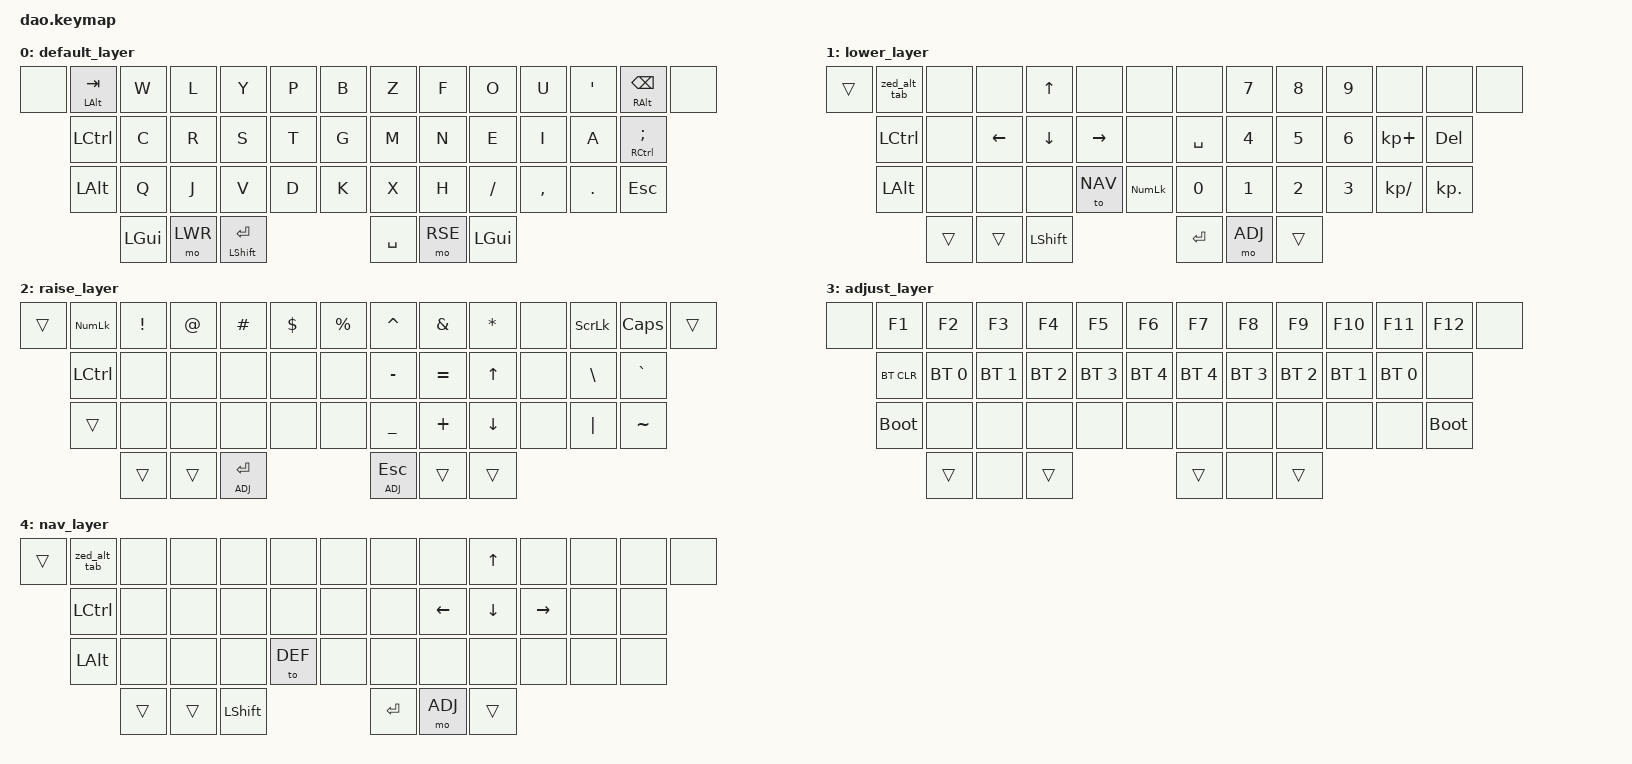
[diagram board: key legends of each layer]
/*
 * Copyright (c) 2021 Rafael Yumagulov
 *
 * SPDX-License-Identifier: MIT
 */

#include <behaviors.dtsi>
#include <dt-bindings/zmk/keys.h>
#include <dt-bindings/zmk/bt.h>

#define DEF 0
#define LWR 1
#define RSE 2
#define ADJ 3
#define NAV 4

&lt { quick_tap_ms = <200>; };
&mt { quick_tap_ms = <200>; };

/ {
    chosen {
        zmk,matrix_transform = &default_transform;
        // zmk,matrix_transform = &extra_keys_transform;
    };
};

/ {
    macros {
        zed_alt_tab: zed_alt_tab {
            label = "ZM_zed_alt_tab";
            compatible = "zmk,behavior-macro";
            #binding-cells = <0>;
            bindings
                = <&macro_press &kp LALT>
                , <&macro_tap &kp TAB>
                , <&macro_release &kp LALT>
                ;
        };
        zed_rub_out: zed_rub_out {
            label = "ZM_zed_rub_out";
            compatible = "zmk,behavior-macro";
            #binding-cells = <0>;
            bindings
                = <&macro_press &kp LCTRL>
                , <&macro_tap &kp BSPC>
                , <&macro_release &kp LCTRL>
                ;
        };
        zed_assignment: zed_assignment {
            label = "ZM_zed_assignment";
            compatible = "zmk,behavior-macro";
            #binding-cells = <0>;
            bindings
                = <&macro_tap &kp COLON>
                , <&macro_tap &kp EQUAL>
                ;
        };		
    };
};

/ {
    combos {
        compatible = "zmk,combos";
        combo_EQUAL {
            timeout-ms = <45>;
            key-positions = <2 11>;
            bindings = <&kp EQUAL>;
        };
        combo_ASSIGNMENT {
            timeout-ms = <45>;
            key-positions = <4 9>;
            bindings = <&zed_assignment>;
        };
        combo_LPAR {
            timeout-ms = <71>;
            key-positions = <2 15>;
            bindings = <&kp LPAR>;
        };
        combo_RPAR {
            timeout-ms = <71>;
            key-positions = <8 21>;
            bindings = <&kp RPAR>;
        };
        combo_LCURLY {
            timeout-ms = <71>;
            key-positions = <5 18>;
            bindings = <&kp LEFT_BRACE>;
        };
        combo_RCURLY {
            timeout-ms = <71>;
            key-positions = <11 24>;
            bindings = <&kp RIGHT_BRACE>;
        };
        combo_LBRACKET {
            timeout-ms = <71>;
            key-positions = <4 17>;
            bindings = <&kp LEFT_BRACKET>;
        };	
        combo_RBRACKET {
            timeout-ms = <71>;
            key-positions = <10 23>;
            bindings = <&kp RIGHT_BRACKET>;
        };
	combo_LESSTHAN {
	    timeout-ms = <71>;
	    key-positions = <3 16>;
	    bindings = <&kp LESS_THAN>;
	};
	combo_GREATERTHAN {
	    timeout-ms = <71>;
	    key-positions = <9 22>;
	    bindings = <&kp GREATER_THAN>;
	};
        combo_PAGEUP {
            timeout-ms = <50>;
            key-positions = <7 8>;
            bindings = <&kp PAGE_UP>;
        }; 
        combo_PAGEDOWN {
            timeout-ms = <50>;
            key-positions = <32 33>;
            bindings = <&kp PAGE_DOWN>;
        };
        combo_HOME {
            timeout-ms = <50>;
            key-positions = <7 8 9>;
            bindings = <&kp HOME>;
        };
        combo_END {
            timeout-ms = <70>;
            key-positions = <32 33 34>;
            bindings = <&kp END>;
        };
	combo_RUBOUT {
	    timeout-ms = <45>;
	    key-positions = <18 19>;
	    bindings = <&kp LC(BSPC)>;
	};
	combo_BACKSPACE {
	    timeout-ms = <45>;
	    key-positions = <20 21>;
	    bindings = <&kp BSPC>;
	};
        combo_RGUI {
	    // This is a quick way to strike the Compose key
	    // (when the Compose key is mapped to RGUI
            timeout-ms = <50>;
            key-positions = <15 16 17 18>;
            bindings = <&kp RGUI>;
        };	
    };
};

/ {
        keymap {
                compatible = "zmk,keymap";

		default_layer {
// -------------------------------------------------------------------------------------------------------
// |      | ALT/TAB  |  W  |  L  |  Y  |  P  |  B  |     |  Z  |  F   |  O  |  U  |  '  |  ALT/DEL |     |
//        | CTRL     |  C  |  R  |  S  |  T  |  G  |     |  M  |  N   |  E  |  I  |  A  |  CTRL/;  |
//        | LALT     |  Q  |  J  |  V  |  D  |  K  |     |  X  |  H   |  /  |  ,  |  .  |  ESC     |
//                           | LGUI | LWR | SH ENT |     | SPC | RSE  | RSE |
                        bindings = <
   &none    &mt LALT TAB &kp W &kp L &kp Y &kp P &kp B            &kp Z  &kp F  &kp O     &kp U     &kp SQT   &mt RALT BSPC  &none
            &kp LCTRL    &kp C &kp R &kp S &kp T &kp G            &kp M  &kp N  &kp E     &kp I     &kp A       &mt RCTRL SEMI
            &kp LALT     &kp Q &kp J &kp V &kp D &kp K            &kp X  &kp H  &kp FSLH  &kp COMMA &kp DOT     &kp ESC
                         &kp LGUI &mo LWR &mt LSHFT RET       &kp SPACE  &mo RSE  &kp LGUI
                        >;
                };		
                lower_layer {

// ---------------------------------------------------------------------------------------------------
// |     |  ALT/TAB |      |      |  UP   |       |      |     |     |  7 | 8 |  9 |     |     |     |
//       |  CTRL    |      | LEFT | DOWN  | RGHT  |      |     | SPC |  4 | 5 |  6 |  +  | DEL |
//       |  LALT    |      |      |DEFAULT|CANARY | NUM  |     |  0  |  1 | 2 |  3 |  /  |  .  |
//                                | GUI |     | SHFT |        | ENT |     | ALT |
                        bindings = <
   &trans &zed_alt_tab   &none    &none    &kp UP   &none      &none         &none     &kp N7   &kp N8   &kp N9   &none          &none      &none
          &kp LCTRL      &none    &kp LEFT &kp DOWN &kp RIGHT  &none         &kp SPACE &kp N4   &kp N5   &kp N6   &kp KP_PLUS    &kp DEL
          &kp LALT       &none    &none    &none    &to NAV    &kp KP_NUM    &kp N0    &kp N1   &kp N2   &kp N3   &kp KP_SLASH   &kp KP_DOT
                                           &trans   &trans     &kp LSHIFT    &kp ENTER &mo ADJ &trans
                        >;
                };
                raise_layer {
// ---------------------------------------------------------------------------------------------------
// |     | NMLK |  !  |  @  |  #  |  $  |  %  |          |  ^  |  &  |  *  |     | SCLK | CAPS |     |
//       | CTRL |     |     |     |     |     |          |  -  |  =  |  UP |     |  \   |   `  |
//       |      |     |     |     |     |     |          |  _  |  +  | DOWN|     |  |   |   ~  |
//                          |     |     | ADJ |          | ADJ |     |     |
                        bindings = <
   &trans &kp KP_NUM   &kp EXCL    &kp AT     &kp POUND &kp DOLLAR &kp PERCENT              &kp CARET &kp AMPERSAND &kp STAR  &none     &kp SLCK  &kp CAPS &trans
          &kp LCTRL    &none       &none      &none     &none      &none                    &kp MINUS &kp EQUAL     &kp UP    &none     &kp BSLH  &kp GRAVE
          &trans       &none       &none      &none     &none      &none                    &kp UNDER &kp PLUS      &kp DOWN  &none     &kp PIPE  &kp TILDE
                                                           &trans &trans &lt ADJ RET        &lt ADJ ESC &trans &trans
                        >;
                };
                adjust_layer {
// -----------------------------------------------------------------------------------------
// | RST | BLDR |     |     |     |     |     |   |     |     |     |     |     | BLDR | RST |
//       | BTCLR| BT0 | BT1 | BT2 | BT3 | BT4 |   | BT4 | BT3 | BT2 | BT1 | BT0 | BTCLR|
//       |      |     |     |     |     |     |   |     |     |     |     |     |      |
//                          |     |     |     |   |     |     |     |
                        bindings = <
   &none &kp F1      &kp F2       &kp F3       &kp F4       &kp F5        &kp F6             &kp F7       &kp F8       &kp F9       &kp F10      &kp F11       &kp F12 &none
          &bt BT_CLR  &bt BT_SEL 0 &bt BT_SEL 1 &bt BT_SEL 2 &bt BT_SEL 3  &bt BT_SEL 4       &bt BT_SEL 4 &bt BT_SEL 3 &bt BT_SEL 2 &bt BT_SEL 1 &bt BT_SEL 0  &none
          &bootloader &none        &none        &none        &none         &none              &none        &none        &none        &none        &none         &bootloader
                                                                    &trans &none &trans   &trans &none &trans
                        >;
                };
                nav_layer {

// ---------------------------------------------------------------------------------------------------
// |     |  ALT/TAB |      |      |  UP   |       |      |     |     |  7 | 8 |  9 |     |     |     |
//       |  CTRL    |      | LEFT | DOWN  | RGHT  |      |     | SPC |  4 | 5 |  6 |  +  | DEL |
//       |  LALT    |      |      |DEFAULT|CANARY | NUM  |     |  0  |  1 | 2 |  3 |  /  |  .  |
//                                | GUI |     | SHFT |        | ENT |     | ALT |
                        bindings = <
   &trans &zed_alt_tab   &none    &none    &none   &none      &none          &none    &none    &kp UP       &none   &none          &none      &none
          &kp LCTRL      &none    &none    &none   &none      &none          &none    &kp LEFT   &kp DOWN   &kp RIGHT   &none    &none
          &kp LALT       &none    &none    &none    &to DEF     &none          &none    &none   &none   &none   &none   &none
                                           &trans   &trans     &kp LSHFT     &kp ENTER &mo ADJ &trans
                        >;
                };
		
        };
};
